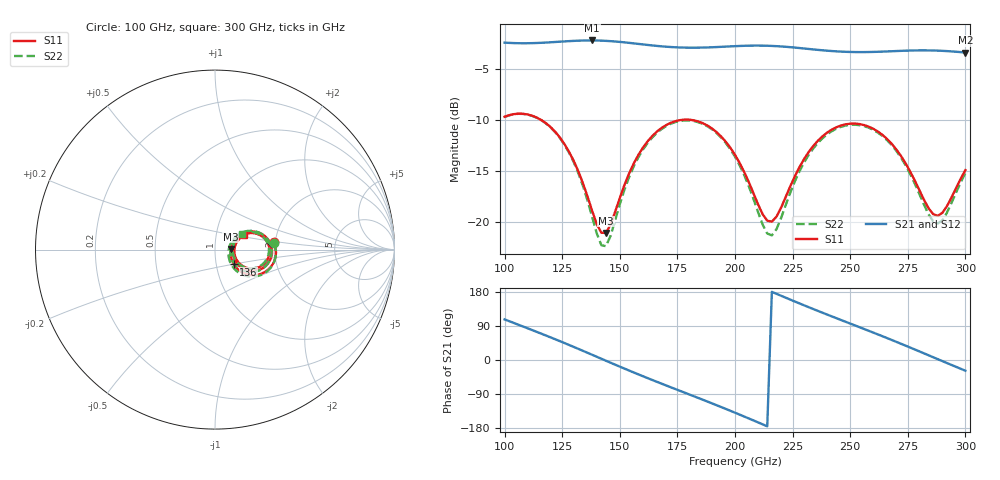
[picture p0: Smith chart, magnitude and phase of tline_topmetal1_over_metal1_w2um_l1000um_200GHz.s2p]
#  GHZ S DB R 50
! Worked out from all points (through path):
!   101 points, 100 GHz to 300 GHz, reference 50 ohm
!   highest |S21| = -2.20 dB at 138 GHz (marker M1); lowest = -3.4 dB at 300 GHz (marker M2)
!   group delay of S21, straight-line fit = 6.88 ps
!   lowest |S11| = -21.0 dB at 144 GHz (marker M3), VSWR 1.20, Z = 59.8 + j0.372 ohm
!   |S11| at or under -10 dB: 116.1 GHz to 175.9 GHz (59.81 GHz wide, 41 % of centre); 181.9 GHz to end of sweep
!   |S22| runs from -22.3 to -9.4 dB; largest |S21 - S12| = 1.2e-12
!   S11 on the Smith chart (normalised r, x): 100 GHz: 1.96, +0.19; 136 GHz: 1.22, -0.20; 300 GHz: 1.37, +0.22
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100  -9.66 7.5  -2.41 107.1  -2.41 107.1  -9.68 6.7
110  -9.44 -10.2  -2.47 83.6  -2.47 83.6  -9.45 -11.5
118  -10.30 -24.0  -2.40 64.5  -2.40 64.5  -10.32 -25.8
126  -12.34 -35.9  -2.29 44.7  -2.29 44.7  -12.40 -38.7
134  -16.16 -40.4  -2.21 24.2  -2.21 24.2  -16.42 -44.9
136  -17.47 -38.2  -2.20 19.0  -2.20 19.0  -17.86 -43.2
138  -18.86 -33.3  -2.20 13.8  -2.20 13.8  -19.46 -38.7
142  -21.01 -12.3  -2.22 3.3  -2.22 3.3  -22.22 -15.7
144  -21.02 2.0  -2.24 -1.9  -2.24 -1.9  -22.32 1.6
156  -14.25 29.6  -2.48 -32.8  -2.48 -32.8  -14.53 31.8
168  -10.78 14.8  -2.77 -62.1  -2.77 -62.1  -10.89 15.6
184  -10.12 -11.2  -2.90 -100.0  -2.90 -100.0  -10.19 -11.9
200  -13.39 -32.9  -2.76 -139.1  -2.76 -139.1  -13.56 -35.6
208  -17.14 -31.5  -2.70 -159.4  -2.70 -159.4  -17.68 -35.8
216  -19.91 0.4  -2.73 179.9  -2.73 179.9  -21.26 0.4
224  -16.46 26.0  -2.86 159.4  -2.86 159.4  -17.08 30.0
234  -12.51 22.7  -3.08 134.4  -3.08 134.4  -12.75 25.4
252  -10.33 -3.1  -3.33 91.4  -3.33 91.4  -10.44 -2.0
268  -12.30 -25.8  -3.25 52.9  -3.25 52.9  -12.43 -25.9
278  -15.89 -30.0  -3.18 27.9  -3.18 27.9  -16.18 -31.2
288  -19.35 -1.1  -3.20 2.2  -3.20 2.2  -20.11 -0.3
300  -14.87 25.9  -3.38 -28.2  -3.38 -28.2  -15.16 28.9
